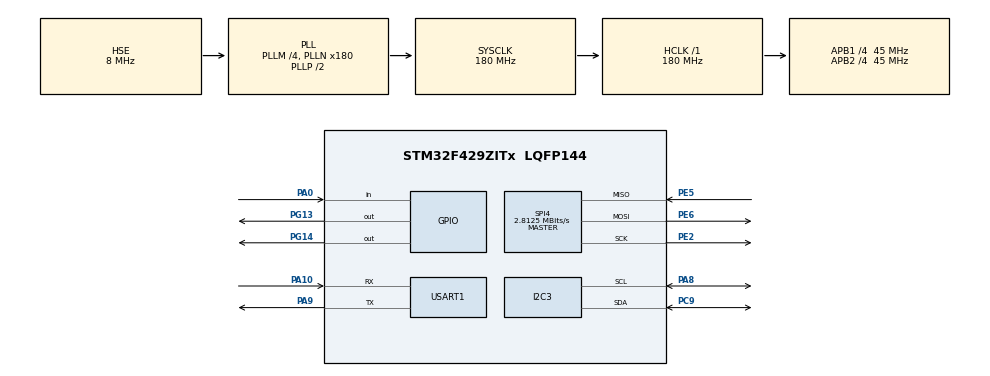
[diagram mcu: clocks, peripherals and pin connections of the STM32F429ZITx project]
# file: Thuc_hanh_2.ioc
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I2C3.I2C_Mode=I2C_Fast
Mcu.Family=STM32F4
Mcu.Name=STM32F429ZITx
Mcu.Package=LQFP144
NVIC.PriorityGroup=NVIC_PRIORITYGROUP_4
PA0/WKUP.Signal=GPIO_Input
PA10.Mode=Asynchronous
PA10.Signal=USART1_RX
PA8.Mode=I2C
PA8.Signal=I2C3_SCL
PA9.Mode=Asynchronous
PA9.Signal=USART1_TX
PC9.Mode=I2C
PC9.Signal=I2C3_SDA
PE2.Mode=Full_Duplex_Master
PE2.Signal=SPI4_SCK
PE4.Signal=EVENTOUT
PE5.Mode=Full_Duplex_Master
PE5.Signal=SPI4_MISO
PE6.Mode=Full_Duplex_Master
PE6.Signal=SPI4_MOSI
PG13.Signal=GPIO_Output
PG14.Signal=GPIO_Output
PH0/OSC_IN.Mode=HSE-External-Oscillator
PH0/OSC_IN.Signal=RCC_OSC_IN
PH1/OSC_OUT.Mode=HSE-External-Oscillator
PH1/OSC_OUT.Signal=RCC_OSC_OUT
ProjectManager.HeapSize=0x200
ProjectManager.StackSize=0x400
ProjectManager.TargetToolchain=STM32CubeIDE
RCC.48MHZClocksFreq_Value=90000000
RCC.AHBFreq_Value=180000000
RCC.APB1CLKDivider=RCC_HCLK_DIV4
RCC.APB1Freq_Value=45000000
RCC.APB1TimFreq_Value=90000000
RCC.APB2CLKDivider=RCC_HCLK_DIV4
RCC.APB2Freq_Value=45000000
RCC.APB2TimFreq_Value=90000000
RCC.CortexFreq_Value=180000000
RCC.HCLKFreq_Value=180000000
RCC.HSE_VALUE=8000000
RCC.HSI_VALUE=16000000
RCC.LSE_VALUE=32768
RCC.PLLM=4
RCC.PLLN=180
RCC.PLLSourceVirtual=RCC_PLLSOURCE_HSE
RCC.SYSCLKFreq_VALUE=180000000
RCC.SYSCLKSource=RCC_SYSCLKSOURCE_PLLCLK
RCC.VCOOutputFreq_Value=360000000
SPI4.BaudRatePrescaler=SPI_BAUDRATEPRESCALER_16
SPI4.CalculateBaudRate=2.8125 MBits/s
SPI4.DataSize=SPI_DATASIZE_8BIT
SPI4.Direction=SPI_DIRECTION_2LINES
SPI4.Mode=SPI_MODE_MASTER
SPI4.VirtualType=VM_MASTER
USART1.VirtualMode=VM_ASYNC
board=custom

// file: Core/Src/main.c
/* USER CODE BEGIN Header */
/**
 ******************************************************************************
 * @file           : main.c
 * @brief          : Main program body
 ******************************************************************************
 * @attention
 *
 * Copyright (c) 2025 STMicroelectronics.
 * All rights reserved.
 *
 * This software is licensed under terms that can be found in the LICENSE file
 * in the root directory of this software component.
 * If no LICENSE file comes with this software, it is provided AS-IS.
 *
 ******************************************************************************
 */
/* USER CODE END Header */
#include "main.h"

/* USER CODE BEGIN Includes */
#include "i2c_scan.h"
#include "SH1106.h"
#include <stdio.h>
#include <string.h>
#include <stdint.h>
#include "tm_stm32f4_mfrc522.h"
/* USER CODE END Includes */

/* USER CODE BEGIN PTD */
#define MAX_VALID_RFIDS 10
char valid_rfids[MAX_VALID_RFIDS][20];
int num_valid_rfids = 0;

/* USER CODE END PTD */

/* USER CODE BEGIN PD */
struct Time
{
  uint8_t sec;
  uint8_t min;
  uint8_t hour;
  uint8_t weekday;
  uint8_t day;
  uint8_t month;
  uint8_t year;
};
/* USER CODE END PD */

I2C_HandleTypeDef hi2c3;

SPI_HandleTypeDef hspi4;

UART_HandleTypeDef huart1;

/* USER CODE BEGIN PV */
char buff[100];
char rx_buffer[30]; // Bộ đệm nhận UART
uint8_t rx_index = 0;
uint8_t is_admin_mode = 0; // Chế độ quản trị để thêm thẻ mới
uint8_t button_state = 0; // Trạng thái nút nhấn trước đó
/* USER CODE END PV */

void SystemClock_Config(void);
static void MX_GPIO_Init(void);
static void MX_I2C3_Init(void);
static void MX_SPI4_Init(void);
static void MX_USART1_UART_Init(void);

/* USER CODE BEGIN 0 */
void SetTime()
{
  struct Time Set_time;
  Set_time.sec = 0;
  Set_time.min = 13;
  Set_time.hour = 14;
  Set_time.day = 17;
  Set_time.month = 4;
  Set_time.year = 25;
  Set_time.weekday = 0;
  HAL_I2C_Mem_Write(&hi2c3, 0xD0, 0, 1, (uint8_t *)&Set_time, 7, 1000);
}

uint8_t BCD_To_Dec(uint8_t bcd)
{
    return ((bcd >> 4) * 10) + (bcd & 0x0F);
}

struct Time GetRTCTime()
{
  struct Time Get_time_raw;
  struct Time Get_time;

  HAL_I2C_Mem_Read(&hi2c3, 0xD0, 0, 1, (uint8_t *)&Get_time_raw, 7, 1000);

  Get_time.sec     = BCD_To_Dec(Get_time_raw.sec);
  Get_time.min     = BCD_To_Dec(Get_time_raw.min);
  Get_time.hour    = BCD_To_Dec(Get_time_raw.hour);
  Get_time.day     = BCD_To_Dec(Get_time_raw.day);
  Get_time.month   = BCD_To_Dec(Get_time_raw.month);
  Get_time.year    = BCD_To_Dec(Get_time_raw.year);
  Get_time.weekday = BCD_To_Dec(Get_time_raw.weekday);

  return Get_time;
}

void DisplayTimeOnUART(struct Time time)
{
  sprintf(buff, "%02d:%02d:%02d-%02d-%02d/%02d/%02d \n",
          time.hour,
          time.min,
          time.sec,
          time.weekday,
          time.day,
          time.month,
          time.year);
  HAL_UART_Transmit(&huart1, (uint8_t *)buff, strlen(buff), 1000);
}

void DisplayTimeOnSH1106(struct Time time)
{
  SH1106_Clear();

  // Display title
  sprintf(buff, "Real Time Clock");
  SH1106_GotoXY(10, 0);
  SH1106_Puts(buff, &Font_11x18, SH1106_COLOR_WHITE);

  // Display time
  sprintf(buff, "%02d:%02d:%02d", time.hour, time.min, time.sec);
  SH1106_GotoXY(25, 20);
  SH1106_Puts(buff, &Font_11x18, SH1106_COLOR_WHITE);

  // Display date
  sprintf(buff, "%02d/%02d/20%02d", time.day, time.month, time.year);
  SH1106_GotoXY(20, 40);
  SH1106_Puts(buff, &Font_11x18, SH1106_COLOR_WHITE);

  SH1106_UpdateScreen();
}

void InitDisplay()
{
  SH1106_Init();
  SH1106_Clear();
  sprintf(buff, "Starting...");
  SH1106_GotoXY(20, 20);
  SH1106_Puts(buff, &Font_11x18, SH1106_COLOR_WHITE);
  SH1106_UpdateScreen();
  HAL_Delay(1000);
}

int isValidCardId(uint8_t *cardId)
{
  char cardIdString[20];
  sprintf(cardIdString, "%02X %02X %02X %02X %02X", cardId[0], cardId[1], cardId[2], cardId[3], cardId[4]);

  // In cardID ra UART để debug
  HAL_UART_Transmit(&huart1, (uint8_t *)"Scanned Card: ", 14, 1000);
  HAL_UART_Transmit(&huart1, (uint8_t *)cardIdString, strlen(cardIdString), 1000);
  HAL_UART_Transmit(&huart1, (uint8_t *)"\r\n", 2, 1000);

  // Kiểm tra xem cardID có nằm trong danh sách hợp lệ không
  for (int i = 0; i < num_valid_rfids; i++)
  {
    if (strcmp(cardIdString, valid_rfids[i]) == 0)
    {
      return 1; // Card hợp lệ
    }
  }
  return 0; // Card không hợp lệ
}

// Thêm thẻ RFID mới vào danh sách
void addNewRfid(const char* rfid) {
  if (num_valid_rfids < MAX_VALID_RFIDS) {
    strcpy(valid_rfids[num_valid_rfids], rfid);
    num_valid_rfids++;

    sprintf(buff, "Added new RFID: %s\r\n", rfid);
    HAL_UART_Transmit(&huart1, (uint8_t *)buff, strlen(buff), 1000);

    sprintf(buff, "Total RFIDs: %d\r\n", num_valid_rfids);
    HAL_UART_Transmit(&huart1, (uint8_t *)buff, strlen(buff), 1000);
  } else {
    sprintf(buff, "Error: Maximum number of RFIDs reached\r\n");
    HAL_UART_Transmit(&huart1, (uint8_t *)buff, strlen(buff), 1000);
  }
}

// Xử lý lệnh từ UART
void processCommand(char* cmd) {
  // Loại bỏ ký tự xuống dòng nếu có
  char* newline = strchr(cmd, '\r');
  if (newline) *newline = 0;
  newline = strchr(cmd, '\n');
  if (newline) *newline = 0;

  // Kiểm tra lệnh
  if (strncmp(cmd, "admin", 5) == 0) {
    is_admin_mode = 1;
    sprintf(buff, "Admin mode activated\r\n");
    HAL_UART_Transmit(&huart1, (uint8_t *)buff, strlen(buff), 1000);
    sprintf(buff, "Enter RFID to add (format: XX XX XX XX XX):\r\n");
    HAL_UART_Transmit(&huart1, (uint8_t *)buff, strlen(buff), 1000);
  }
  else if (strncmp(cmd, "exit", 4) == 0) {
    is_admin_mode = 0;
    sprintf(buff, "Admin mode deactivated\r\n");
    HAL_UART_Transmit(&huart1, (uint8_t *)buff, strlen(buff), 1000);
  }
  else if (strncmp(cmd, "list", 4) == 0) {
    sprintf(buff, "Valid RFIDs (%d):\r\n", num_valid_rfids);
    HAL_UART_Transmit(&huart1, (uint8_t *)buff, strlen(buff), 1000);

    for (int i = 0; i < num_valid_rfids; i++) {
      sprintf(buff, "%d: %s\r\n", i+1, valid_rfids[i]);
      HAL_UART_Transmit(&huart1, (uint8_t *)buff, strlen(buff), 1000);
    }
  }
  else if (is_admin_mode && strlen(cmd) >= 14) {
    // Kiểm tra định dạng RFID (XX XX XX XX XX)
    int valid_format = 1;
    if (strlen(cmd) >= 14) {
      for (int i = 0; i < 14; i++) {
        if ((i == 2 || i == 5 || i == 8 || i == 11) && cmd[i] != ' ') {
          valid_format = 0;
          break;
        }
        if ((i != 2 && i != 5 && i != 8 && i != 11) &&
            !((cmd[i] >= '0' && cmd[i] <= '9') ||
              (cmd[i] >= 'A' && cmd[i] <= 'F') ||
              (cmd[i] >= 'a' && cmd[i] <= 'f'))) {
          valid_format = 0;
          break;
        }
      }
    } else {
      valid_format = 0;
    }

    if (valid_format) {
      // Chuyển đổi chữ thường thành chữ hoa
      for (int i = 0; i < 14; i++) {
        if (cmd[i] >= 'a' && cmd[i] <= 'f') {
          cmd[i] = cmd[i] - 32; // Chuyển thành chữ hoa
        }
      }

      addNewRfid(cmd);
    } else {
      sprintf(buff, "Invalid RFID format. Use: XX XX XX XX XX\r\n");
      HAL_UART_Transmit(&huart1, (uint8_t *)buff, strlen(buff), 1000);
    }
  }
}

// Khởi tạo một số RFID mặc định
void initDefaultRfids() {
  addNewRfid("43 B7 82 34 42");
  addNewRfid("43 E6 15 35 85");
  addNewRfid("B3 DC 9E 19 E8");
}
/* USER CODE END 0 */

int main(void)
{

  /* USER CODE BEGIN 1 */
  struct Time currentTime;
  /* USER CODE END 1 */

  /* MCU Configuration--------------------------------------------------------*/

  /* Reset of all peripherals, Initializes the Flash interface and the Systick. */
  HAL_Init();

  /* Configure the system clock */
  SystemClock_Config();

  /* Initialize all configured peripherals */
  MX_GPIO_Init();
  MX_I2C3_Init();
  MX_SPI4_Init();
  MX_USART1_UART_Init();
  /* USER CODE BEGIN 2 */
  sprintf(buff, "Initializing...\r\n");
  HAL_UART_Transmit(&huart1, (uint8_t *)buff, strlen(buff), 1000);

  // Khởi tạo danh sách RFID mặc định
  initDefaultRfids();

  // Hiển thị thông tin hướng dẫn sử dụng
  sprintf(buff, "\r\nCommands:\r\n- admin: Enter admin mode\r\n- exit: Exit admin mode\r\n- list: List all valid RFIDs\r\n");
  HAL_UART_Transmit(&huart1, (uint8_t *)buff, strlen(buff), 1000);

  SetTime(); // Set initial time (can be commented out after first run)

  // Initialize OLED display
  sprintf(buff, "Initializing OLED display...\r\n");
  HAL_UART_Transmit(&huart1, (uint8_t *)buff, strlen(buff), 1000);

  uint8_t oled_status = SH1106_Init();
  if (oled_status)
  {
    sprintf(buff, "OLED display initialized successfully!\r\n");
    HAL_UART_Transmit(&huart1, (uint8_t *)buff, strlen(buff), 1000);
    SH1106_Clear();
    SH1106_GotoXY(0, 0);
    SH1106_Puts("OLED Test OK", &Font_11x18, SH1106_COLOR_WHITE);
    SH1106_UpdateScreen();
  }
  else
  {
    sprintf(buff, "OLED display initialization FAILED!\r\n");
    HAL_UART_Transmit(&huart1, (uint8_t *)buff, strlen(buff), 1000);
  }

  HAL_Delay(1000);

  // Initialize RFID
  TM_MFRC522_Init();

  // Read RFID version register to check if module is responding
  uint8_t version = TM_MFRC522_ReadRegister(MFRC522_REG_VERSION);
  sprintf(buff, "RFID Version: 0x%02X\r\n", version);
  HAL_UART_Transmit(&huart1, (uint8_t *)buff, strlen(buff), 1000);

  if (version == 0x00 || version == 0xFF)
  {
    sprintf(buff, "RFID module not detected!\r\n");
    HAL_UART_Transmit(&huart1, (uint8_t *)buff, strlen(buff), 1000);

    if (oled_status)
    {
      SH1106_Clear();
      SH1106_GotoXY(0, 0);
      SH1106_Puts("RFID ERROR!", &Font_11x18, SH1106_COLOR_WHITE);
      SH1106_UpdateScreen();
    }
  }
  else
  {
    sprintf(buff, "RFID module OK, scanning...\r\n");
    HAL_UART_Transmit(&huart1, (uint8_t *)buff, strlen(buff), 1000);

    if (oled_status)
    {
      SH1106_Clear();
      SH1106_GotoXY(0, 0);
      SH1106_Puts("RFID Ready", &Font_11x18, SH1106_COLOR_WHITE);
      SH1106_UpdateScreen();
    }
  }

  FILE*f = open("log.txt", "w");
  if(f == NULL) {
	  sprintf(buff, "Cannot open file");
	  HAL_UART_Transmit(&huart1, (uint8_t *)buff, strlen(buff), 1000);
  }
  /* USER CODE END 2 */

  /* Infinite loop */
  while (1)
  {

    /* USER CODE BEGIN 3 */
    uint8_t CardId[5];

    // Kiểm tra nút nhấn PA0
    uint8_t current_button_state = HAL_GPIO_ReadPin(GPIOA, GPIO_PIN_0);

    // Phát hiện cạnh xuống (từ 1 -> 0, tức là nút vừa được nhấn)
    if (button_state == 1 && current_button_state == 0) {
      // Nút được nhấn, chuyển sang chế độ admin
      is_admin_mode = !is_admin_mode; // Toggle chế độ admin

      if (is_admin_mode) {
        sprintf(buff, "\r\nAdmin mode activated. Enter RFID to add (format: XX XX XX XX XX):\r\n");
        HAL_UART_Transmit(&huart1, (uint8_t *)buff, strlen(buff), 1000);
        // Xóa màn hình OLED và hiển thị thông báo ở chế độ admin
        SH1106_Clear();
        SH1106_GotoXY(0, 0);
        SH1106_Puts("ADMIN MODE", &Font_11x18, SH1106_COLOR_WHITE);
        SH1106_GotoXY(0, 25);
        SH1106_Puts("Enter ID via", &Font_7x10, SH1106_COLOR_WHITE);
        SH1106_GotoXY(0, 40);
        SH1106_Puts("UART", &Font_7x10, SH1106_COLOR_WHITE);
        SH1106_UpdateScreen();
      } else {
        sprintf(buff, "\r\nAdmin mode deactivated. Returning to normal operation.\r\n");
        HAL_UART_Transmit(&huart1, (uint8_t *)buff, strlen(buff), 1000);
        // Xóa màn hình OLED và hiển thị thông báo quay lại chế độ kiểm tra
        SH1106_Clear();
        SH1106_GotoXY(0, 0);
        SH1106_Puts("RFID SCANNER", &Font_11x18, SH1106_COLOR_WHITE);
        SH1106_GotoXY(0, 25);
        SH1106_Puts("Waiting for", &Font_7x10, SH1106_COLOR_WHITE);
        SH1106_GotoXY(0, 40);
        SH1106_Puts("card...", &Font_7x10, SH1106_COLOR_WHITE);
        SH1106_UpdateScreen();
      }

      // Thêm delay chống dội nút
      HAL_Delay(200);
    }

    // Cập nhật trạng thái nút nhấn
    button_state = current_button_state;

    // Nhận dữ liệu từ UART
    uint8_t rx_data;
    if (HAL_UART_Receive(&huart1, &rx_data, 1, 10) == HAL_OK && is_admin_mode) {
      if (rx_data == '\r' || rx_data == '\n') {
        if (rx_index > 0) {
          rx_buffer[rx_index] = 0; // Null terminate
          processCommand(rx_buffer);
          rx_index = 0; // Reset buffer
        }
      } else {
        if (rx_index < sizeof(rx_buffer) - 1) {
          rx_buffer[rx_index++] = rx_data;
        }
      }
    }

    // Chỉ kiểm tra thẻ RFID khi không ở chế độ admin
    if (!is_admin_mode) {
      // Test RFID communication every few seconds
      static uint32_t lastRfidTest = 0;
      if (HAL_GetTick() - lastRfidTest > 3000)
      {
        lastRfidTest = HAL_GetTick();

        // Test reading a register
        uint8_t status = TM_MFRC522_ReadRegister(MFRC522_REG_STATUS1);
        sprintf(buff, "RFID Status: 0x%02X\r\n", status);
        HAL_UART_Transmit(&huart1, (uint8_t *)buff, strlen(buff), 1000);
      }

      HAL_Delay(100);

      if (TM_MFRC522_Check(CardId) == MI_OK)
      {
        sprintf(buff, "Card ID: %02X %02X %02X %02X %02X\r\n", CardId[0], CardId[1], CardId[2], CardId[3], CardId[4]);
        HAL_UART_Transmit(&huart1, (uint8_t *)buff, strlen(buff), 1000);

        // Display card ID on OLED
        SH1106_Clear();

        if (isValidCardId(CardId) == 1)
        {
          sprintf(buff, "%s", "Welcome!");
          SH1106_GotoXY(10, 0);
          SH1106_Puts(buff, &Font_7x10, SH1106_COLOR_WHITE);
          HAL_UART_Transmit(&huart1, (uint8_t *)buff, strlen(buff), 1000);
          SH1106_GotoXY(10, 20);
          SH1106_Puts(buff, &Font_7x10, SH1106_COLOR_WHITE);

          struct Time time = GetRTCTime();
          FILE*f = open("log.txt", "a");
          if(f == NULL) {
        	  sprintf(buff, "Cannot open file");
        	  HAL_UART_Transmit(&huart1, (uint8_t *)buff, strlen(buff), 1000);
          }
          if (f != NULL)
           {
                 fprintf(f, "CardID: %s - Time: %02d:%02d:%02d %02d/%02d/20%02d\n",
                          CardId,
                          time.hour, time.min, time.sec,
                          time.day, time.month, time.year);
                  fclose(f);
              }
        }
        else
        {
          sprintf(buff, "%s", "Rejected!");
          SH1106_GotoXY(10, 0);
          SH1106_Puts(buff, &Font_7x10, SH1106_COLOR_WHITE);
          HAL_UART_Transmit(&huart1, (uint8_t *)buff, strlen(buff), 1000);
        }

        //Display each byte of the card ID on a separate line
        sprintf(buff, "ID[0]: %02X", CardId[0]);
        SH1106_GotoXY(10, 12);
        SH1106_Puts(buff, &Font_7x10, SH1106_COLOR_WHITE);

        sprintf(buff, "ID[1]: %02X", CardId[1]);
        SH1106_GotoXY(10, 22);
        SH1106_Puts(buff, &Font_7x10, SH1106_COLOR_WHITE);

        sprintf(buff, "ID[2]: %02X", CardId[2]);
        SH1106_GotoXY(10, 32);
        SH1106_Puts(buff, &Font_7x10, SH1106_COLOR_WHITE);

        sprintf(buff, "ID[3]: %02X", CardId[3]);
        SH1106_GotoXY(10, 42);
        SH1106_Puts(buff, &Font_7x10, SH1106_COLOR_WHITE);

        sprintf(buff, "ID[4]: %02X", CardId[4]);
        SH1106_GotoXY(10, 52);
        SH1106_Puts(buff, &Font_7x10, SH1106_COLOR_WHITE);

        SH1106_UpdateScreen();

        // Thêm delay để không đọc lại thẻ liên tục
        HAL_Delay(1000);
      }
      else if (HAL_GetTick() % 2000 < 1000) // Hiện thông báo mỗi 2 giây
      {
        // Hiển thị thông báo chờ thẻ
        SH1106_Clear();
        SH1106_GotoXY(0, 0);
        SH1106_Puts("RFID SCANNER", &Font_11x18, SH1106_COLOR_WHITE);
        SH1106_GotoXY(0, 25);
        SH1106_Puts("Waiting for", &Font_7x10, SH1106_COLOR_WHITE);
        SH1106_GotoXY(0, 40);
        SH1106_Puts("card...", &Font_7x10, SH1106_COLOR_WHITE);
        SH1106_UpdateScreen();
      }
    }
  }
  /* USER CODE END 3 */
}

void SystemClock_Config(void)
{
  RCC_OscInitTypeDef RCC_OscInitStruct = {0};
  RCC_ClkInitTypeDef RCC_ClkInitStruct = {0};

  /** Configure the main internal regulator output voltage
  */
  __HAL_RCC_PWR_CLK_ENABLE();
  __HAL_PWR_VOLTAGESCALING_CONFIG(PWR_REGULATOR_VOLTAGE_SCALE1);

  /** Initializes the RCC Oscillators according to the specified parameters
  * in the RCC_OscInitTypeDef structure.
  */
  RCC_OscInitStruct.OscillatorType = RCC_OSCILLATORTYPE_HSE;
  RCC_OscInitStruct.HSEState = RCC_HSE_ON;
  RCC_OscInitStruct.PLL.PLLState = RCC_PLL_ON;
  RCC_OscInitStruct.PLL.PLLSource = RCC_PLLSOURCE_HSE;
  RCC_OscInitStruct.PLL.PLLM = 4;
  RCC_OscInitStruct.PLL.PLLN = 180;
  RCC_OscInitStruct.PLL.PLLP = RCC_PLLP_DIV2;
  RCC_OscInitStruct.PLL.PLLQ = 4;
  if (HAL_RCC_OscConfig(&RCC_OscInitStruct) != HAL_OK)
  {
    Error_Handler();
  }

  /** Activate the Over-Drive mode
  */
  if (HAL_PWREx_EnableOverDrive() != HAL_OK)
  {
    Error_Handler();
  }

  /** Initializes the CPU, AHB and APB buses clocks
  */
  RCC_ClkInitStruct.ClockType = RCC_CLOCKTYPE_HCLK|RCC_CLOCKTYPE_SYSCLK
                              |RCC_CLOCKTYPE_PCLK1|RCC_CLOCKTYPE_PCLK2;
  RCC_ClkInitStruct.SYSCLKSource = RCC_SYSCLKSOURCE_PLLCLK;
  RCC_ClkInitStruct.AHBCLKDivider = RCC_SYSCLK_DIV1;
  RCC_ClkInitStruct.APB1CLKDivider = RCC_HCLK_DIV4;
  RCC_ClkInitStruct.APB2CLKDivider = RCC_HCLK_DIV4;

  if (HAL_RCC_ClockConfig(&RCC_ClkInitStruct, FLASH_LATENCY_5) != HAL_OK)
  {
    Error_Handler();
  }
}

static void MX_I2C3_Init(void)
{

  hi2c3.Instance = I2C3;
  hi2c3.Init.ClockSpeed = 400000;
  hi2c3.Init.DutyCycle = I2C_DUTYCYCLE_2;
  hi2c3.Init.OwnAddress1 = 0;
  hi2c3.Init.AddressingMode = I2C_ADDRESSINGMODE_7BIT;
  hi2c3.Init.DualAddressMode = I2C_DUALADDRESS_DISABLE;
  hi2c3.Init.OwnAddress2 = 0;
  hi2c3.Init.GeneralCallMode = I2C_GENERALCALL_DISABLE;
  hi2c3.Init.NoStretchMode = I2C_NOSTRETCH_DISABLE;
  if (HAL_I2C_Init(&hi2c3) != HAL_OK)
  {
    Error_Handler();
  }

  /** Configure Analogue filter
  */
  if (HAL_I2CEx_ConfigAnalogFilter(&hi2c3, I2C_ANALOGFILTER_ENABLE) != HAL_OK)
  {
    Error_Handler();
  }

  /** Configure Digital filter
  */
  if (HAL_I2CEx_ConfigDigitalFilter(&hi2c3, 0) != HAL_OK)
  {
    Error_Handler();
  }

}

static void MX_SPI4_Init(void)
{

  /* SPI4 parameter configuration*/
  hspi4.Instance = SPI4;
  hspi4.Init.Mode = SPI_MODE_MASTER;
  hspi4.Init.Direction = SPI_DIRECTION_2LINES;
  hspi4.Init.DataSize = SPI_DATASIZE_8BIT;
  hspi4.Init.CLKPolarity = SPI_POLARITY_LOW;
  hspi4.Init.CLKPhase = SPI_PHASE_1EDGE;
  hspi4.Init.NSS = SPI_NSS_SOFT;
  hspi4.Init.BaudRatePrescaler = SPI_BAUDRATEPRESCALER_16;
  hspi4.Init.FirstBit = SPI_FIRSTBIT_MSB;
  hspi4.Init.TIMode = SPI_TIMODE_DISABLE;
  hspi4.Init.CRCCalculation = SPI_CRCCALCULATION_DISABLE;
  hspi4.Init.CRCPolynomial = 10;
  if (HAL_SPI_Init(&hspi4) != HAL_OK)
  {
    Error_Handler();
  }

}

static void MX_USART1_UART_Init(void)
{

  huart1.Instance = USART1;
  huart1.Init.BaudRate = 115200;
  huart1.Init.WordLength = UART_WORDLENGTH_8B;
  huart1.Init.StopBits = UART_STOPBITS_1;
  huart1.Init.Parity = UART_PARITY_NONE;
  huart1.Init.Mode = UART_MODE_TX_RX;
  huart1.Init.HwFlowCtl = UART_HWCONTROL_NONE;
  huart1.Init.OverSampling = UART_OVERSAMPLING_16;
  if (HAL_UART_Init(&huart1) != HAL_OK)
  {
    Error_Handler();
  }

}

static void MX_GPIO_Init(void)
{
  GPIO_InitTypeDef GPIO_InitStruct = {0};

  /* GPIO Ports Clock Enable */
  __HAL_RCC_GPIOE_CLK_ENABLE();
  __HAL_RCC_GPIOH_CLK_ENABLE();
  __HAL_RCC_GPIOA_CLK_ENABLE();
  __HAL_RCC_GPIOC_CLK_ENABLE();
  __HAL_RCC_GPIOG_CLK_ENABLE();

  /*Configure GPIO pin Output Level */
  HAL_GPIO_WritePin(GPIOG, GPIO_PIN_13|GPIO_PIN_14, GPIO_PIN_RESET);

  /*Configure GPIO pin : PE4 */
  GPIO_InitStruct.Pin = GPIO_PIN_4;
  GPIO_InitStruct.Mode = GPIO_MODE_AF_PP;
  GPIO_InitStruct.Pull = GPIO_NOPULL;
  GPIO_InitStruct.Speed = GPIO_SPEED_FREQ_LOW;
  GPIO_InitStruct.Alternate = GPIO_AF15_EVENTOUT;
  HAL_GPIO_Init(GPIOE, &GPIO_InitStruct);

  /*Configure GPIO pin : PA0 */
  GPIO_InitStruct.Pin = GPIO_PIN_0;
  GPIO_InitStruct.Mode = GPIO_MODE_INPUT;
  GPIO_InitStruct.Pull = GPIO_NOPULL;
  HAL_GPIO_Init(GPIOA, &GPIO_InitStruct);

  /*Configure GPIO pins : PG13 PG14 */
  GPIO_InitStruct.Pin = GPIO_PIN_13|GPIO_PIN_14;
  GPIO_InitStruct.Mode = GPIO_MODE_OUTPUT_PP;
  GPIO_InitStruct.Pull = GPIO_NOPULL;
  GPIO_InitStruct.Speed = GPIO_SPEED_FREQ_LOW;
  HAL_GPIO_Init(GPIOG, &GPIO_InitStruct);

}

void Error_Handler(void)
{
  __disable_irq();
  while (1)
  {
  }
}
